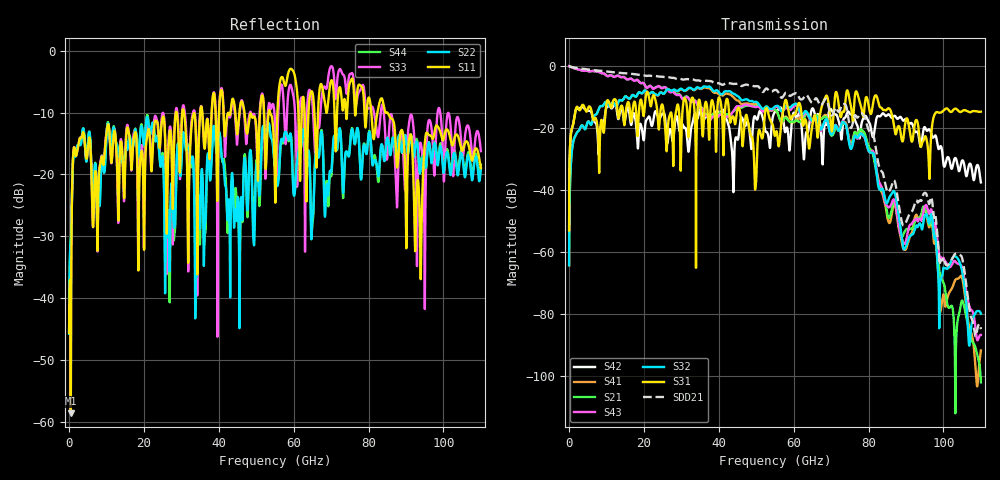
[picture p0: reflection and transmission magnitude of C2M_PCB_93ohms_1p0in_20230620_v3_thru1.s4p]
! Info: Touchstone file created by Circ.  Input file=C2M_PCB_93ohms_1p0in_20230620_v3.circ
# Hz S RI R 50
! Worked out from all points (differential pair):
!   11000 points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, 10 MHz to 110 GHz, reference 50 ohm
!   strongest paths, dB at 10 MHz, 27.51 GHz, 55.01 GHz, 82.51 GHz, 110 GHz:
!     S31: -53.2, -17.5, -22.5, -11.1, -14.7
!     S32: -64.3, -8.0, -13.1, -38.2, -80.0
!     S43: 0.0, -8.4, -13.4, -36.6, -86.8
!     S21: 0.0, -8.1, -14.1, -37.1, -102.2
!     S41: -64.3, -8.2, -14.3, -35.9, -91.9
!     S42: -53.0, -23.4, -14.8, -16.1, -37.6
!   taken as a pair (ports 3,1 in; 4,2 out), SDD21 dB: 0.0, -3.8, -7.7, -30.9, -85.0
!   lowest |S11| = -58.6 dB at 470 MHz (marker M1), VSWR 1.00, Z = 50 + j0.115 ohm
!   |S11| at or under -10 dB: start of sweep to 28.54 GHz; 30.7 GHz to 35.04 GHz (4.337 GHz wide, 13.2 % of centre); 85.01 GHz to end of sweep (the widest 3 of 21)
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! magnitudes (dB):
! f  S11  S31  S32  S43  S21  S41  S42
! 10 MHz  -45.6  -53.2  -64.3  0.0  0.0  -64.3  -53.0
! 470 MHz  -58.6  -22.1  -31.7  -0.3  -0.3  -31.7  -22.3
! 20.21 GHz  -22.0  -12.9  -7.9  -6.1  -6.1  -7.8  -20.7
! 49.76 GHz  -11.1  -39.4  -11.6  -13.3  -13.0  -12.3  -16.4
! 60.56 GHz  -5.0  -15.2  -12.1  -12.6  -17.7  -17.4  -16.5
! 78.44 GHz  -6.2  -15.8  -22.2  -22.3  -20.9  -21.1  -17.3
! 110 GHz  -19.0  -14.7  -80.0  -86.8  -102.2  -91.9  -37.6
